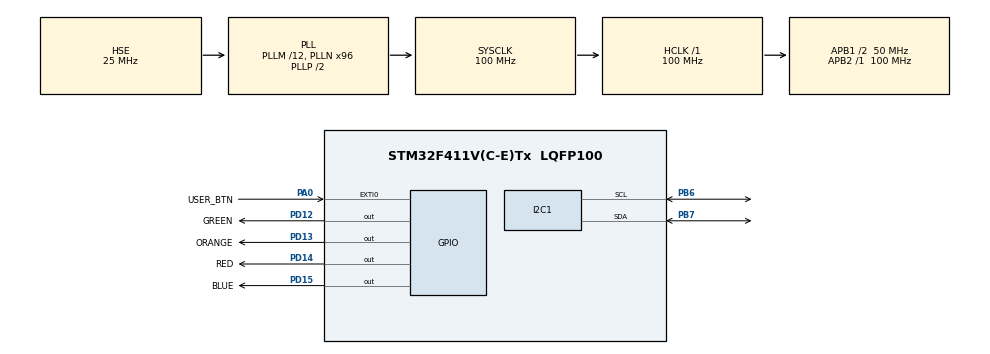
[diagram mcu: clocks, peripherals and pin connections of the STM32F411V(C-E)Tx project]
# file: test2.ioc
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I2C1.I2C_Mode=I2C_Fast
Mcu.Family=STM32F4
Mcu.Name=STM32F411V(C-E)Tx
Mcu.Package=LQFP100
NVIC.PriorityGroup=NVIC_PRIORITYGROUP_4
PA0-WKUP.GPIO_Label=USER_BTN
PA0-WKUP.GPIO_ModeDefaultEXTI=GPIO_MODE_IT_RISING_FALLING
PA0-WKUP.GPIO_PuPd=GPIO_PULLUP
PA0-WKUP.Signal=GPXTI0
PA13.Mode=Serial_Wire
PA13.Signal=SYS_JTMS-SWDIO
PA14.Mode=Serial_Wire
PA14.Signal=SYS_JTCK-SWCLK
PB6.Mode=I2C
PB6.Signal=I2C1_SCL
PB7.Mode=I2C
PB7.Signal=I2C1_SDA
PD12.GPIO_Label=GREEN
PD12.Signal=GPIO_Output
PD13.GPIO_Label=ORANGE
PD13.Signal=GPIO_Output
PD14.GPIO_Label=RED
PD14.Signal=GPIO_Output
PD15.GPIO_Label=BLUE
PD15.Signal=GPIO_Output
PH0\ -\ OSC_IN.Mode=HSE-External-Oscillator
PH0\ -\ OSC_IN.Signal=RCC_OSC_IN
PH1\ -\ OSC_OUT.Mode=HSE-External-Oscillator
PH1\ -\ OSC_OUT.Signal=RCC_OSC_OUT
ProjectManager.HeapSize=0x200
ProjectManager.StackSize=0x400
ProjectManager.TargetToolchain=STM32CubeIDE
RCC.48MHZClocksFreq_Value=50000000
RCC.AHBFreq_Value=100000000
RCC.APB1CLKDivider=RCC_HCLK_DIV2
RCC.APB1Freq_Value=50000000
RCC.APB1TimFreq_Value=100000000
RCC.APB2Freq_Value=100000000
RCC.APB2TimFreq_Value=100000000
RCC.CortexFreq_Value=100000000
RCC.HCLKFreq_Value=100000000
RCC.HSE_VALUE=25000000
RCC.HSI_VALUE=16000000
RCC.LSE_VALUE=32768
RCC.PLLM=12
RCC.PLLN=96
RCC.PLLSourceVirtual=RCC_PLLSOURCE_HSE
RCC.SYSCLKFreq_VALUE=100000000
RCC.SYSCLKSource=RCC_SYSCLKSOURCE_PLLCLK
RCC.VCOOutputFreq_Value=200000000
board=custom

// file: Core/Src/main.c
/* USER CODE BEGIN Header */
/**
  ******************************************************************************
  * @file           : main.c
  * @brief          : Main program body
  ******************************************************************************
  *
	https://www.youtube.com/watch?v=6gQ49cA09Og&ab_channel=ArduinoKit
  *
  ******************************************************************************
  */
/* USER CODE END Header */
#include "main.h"

/* USER CODE BEGIN Includes */

#include "stdio.h"
#include "stdlib.h"
#include "math.h"

#include "LCD1602.h"

/* USER CODE END Includes */

I2C_HandleTypeDef hi2c1;

void SystemClock_Config(void);
static void MX_GPIO_Init(void);
static void MX_I2C1_Init(void);

/* USER CODE BEGIN 0 */

// Send printf to uart1
//int _write(int fd, char* ptr, int len) {
//  HAL_StatusTypeDef hstatus;
//
//  if (fd == 1 || fd == 2) {
//    hstatus = HAL_UART_Transmit(&huart1, (uint8_t *) ptr, len, HAL_MAX_DELAY);
//    if (hstatus == HAL_OK)
//      return len;
//    else
//      return -1;
//  }
//  return -1;
//}

// Под каждый символ отводится 8 байт, а в каждом байте используются только первые пять бит.
// Тогда наш символ можно представить в виде массива, состоящего из восьми элементов.
// один квадратик дисплея это массив точек 5x8
// https://chareditor.com/
// https://arduinointro.com/lcdcustomcharacter/
// https://maxpromer.github.io/LCD-Character-Creator/

//uint8_t myChar_1[8] = {
//							0xff,	// 11111
//							0x00,	// 00000
//							0x00,	// 00000
//							0x00,	// 00000
//							0x00,	// 00000
//							0x00,	// 00000
//							0x00,	// 00000
//							0x00	// 00000
//						  };

//uint8_t myChar_2[8] = {
//    0b11111,
//    0b10001,
//    0b10001,
//    0b10001,
//    0b10001,
//    0b10001,
//    0b10001,
//    0b11111
//};
// ИЛИ ТАК :
//uint8_t myChar_2[8] = { 0x1F, 0x11, 0x11, 0x11, 0x11, 0x11, 0x11, 0x1F };

/* USER CODE END 0 */

int main(void)
{

  /* MCU Configuration--------------------------------------------------------*/

  /* Reset of all peripherals, Initializes the Flash interface and the Systick. */
  HAL_Init();

  /* Configure the system clock */
  SystemClock_Config();

  /* Initialize all configured peripherals */
  MX_GPIO_Init();
  MX_I2C1_Init();
  /* USER CODE BEGIN 2 */

// Функция инициализации дисплея
  LCD_Init();

	// функция создания своего символа и записи его в память Первый параметр массив с символом второй парамет номер ячеки куда записали от 0 до 7 ( всего 8 символов можно записать )--------
//	LCD_CreateChar( myChar_1, 1 );
//	LCD_CreateChar( myChar_2, 2 );

	/////////////////////////////////////////////////////////////////////////////////////////////////////////////////////////////////////

//		// Функция позиционирования ( 1-й параметр позиция символа ( номер столбца ) , 2-й параметр строка ( номер строки ), ( Счет с нуля )------------------
//		LCD_SetCursor( 0, 0 );
//		// Функция печати строки на дисплее
//		LCD_PrintString("Hello Odessa");
//
//		// Функция позиционирования ( 1-й параметр позиция символа , 2-й параметр строка, ( Счет с нуля )------------------
//		LCD_SetCursor( 0, 1 );
//		LCD_PrintString("123456789");
//
//		// Функция позиционирования ( 1-й параметр позиция символа , 2-й параметр строка, ( Счет с нуля )------------------
//		LCD_SetCursor( 15, 1 );
//
//		// печатаем собственный символ под номером 0
//		// перед вызавом своего символа обязательно вызываем LCD_SetCursor();
//		LCD_PrintMyChar( 2 );
//		HAL_Delay (1000);
//
//		// Функция включения и выключения подсветки дисплея ( 0-выкл, 1 (либо другое от 0)- вкл -------------------------------------
//		LCD_LedOnOff( 0 );
//		HAL_Delay (1000);
//
//		// Функция включения и выключения подсветки дисплея ( 0-выкл, 1 (либо другое от 0)- вкл -------------------------------------
//		LCD_LedOnOff( 1 );
//		HAL_Delay (1000);

//		// функция двигает надпись вправо на 1 символ ( бегущая строка )
//		for( uint8_t i = 0; i < 10; i++ ){
//			LCD_StringRunR();
//			HAL_Delay (300);
//		}
//		// функция двигает надпись влево на 1 символ ( бегущая строка )
//		for( uint8_t i = 0; i < 10; i++ ){
//			LCD_StringRunL();
//			HAL_Delay (300);
//		}

//		// функция віключает надпись на єкране (єкран пустой ) и включает ее обратно ( 0- выкл, 1 ( или любое отличное от 0 ) вкл )--
//		LCD_TextOnOff( 0 );
//		HAL_Delay (1000);

//		// функция віключает надпись на єкране (єкран пустой ) и включает ее обратно ( 0- выкл, 1 ( или любое отличное от 0 ) вкл )--
//		LCD_TextOnOff( 1 );
//		HAL_Delay (1000);
//
//		// Функция очистки дисплея ----------------------------------------------------------------------------------------------
//		LCD_Clear();
//		HAL_Delay (1000);

	// ВЫРУБИТЬ ПОДСВЕТКУ И ОЧИСТИТЬ ЭКРАН:
	LCD_LedOnOff( 0 );
	LCD_Clear();
	char buff[1024];

	uint32_t now = 0;
	uint32_t last_print = 0;
//
//	double d1, d2;
//	d1 = M_PI;
//	d2 = M_E;
//
//	LCD_SetCursor( 0, 0 );
//	sprintf(buff, "[%18.16f]", d1);
//	LCD_PrintString(buff);
//
//	LCD_SetCursor( 0, 1 );
//	sprintf(buff, "[%18.16f]", d2);
//	LCD_PrintString(buff);
//
//	LCD_SetCursor( 0, 2 );
//	sprintf(buff, "[RES:%14.12f]", d1 - d2);
//	LCD_PrintString(buff);
//
//	HAL_GPIO_WritePin(GPIOD, GREEN_Pin|ORANGE_Pin|RED_Pin|BLUE_Pin, GPIO_PIN_SET);
//
//	LCD_SetCursor( 0, 3 );

// ВЫДЕЛЕНИЕ ОПРЕДЕЛЕННОГО КОЛИЧЕСТВА ЗНАКОМЕСТ ПОД ВЫВОД:
//	LCD_SetCursor( 0, 1 );
//	sprintf(buff, "[%10d]", 1234);
//	LCD_PrintString(buff);
//
//	LCD_SetCursor( 0, 2 );
//	sprintf(buff, "[%10d]", 0xff);
//	LCD_PrintString(buff);
//
//	LCD_SetCursor( 0, 3 );
//	sprintf(buff, "[%10d]", 987654321);
//	LCD_PrintString(buff);

//	double d1, d2;
//	d1 = M_PI;
//	d2 = M_E;
//
//	LCD_SetCursor( 0, 0 );
//	sprintf(buff, "[%18.16f]", d1);
//	LCD_PrintString(buff);
//
//	LCD_SetCursor( 0, 1 );
//	sprintf(buff, "[%18.16f]", d2);
//	LCD_PrintString(buff);
//
//	LCD_SetCursor( 0, 2 );
//	sprintf(buff, "[RES:%14.12f]", d1+d2);
//	LCD_PrintString(buff);

//	// ЭКСПОНЕНЦИАЛЬНАЯ ЗАПИСЬ ЧИСЛА:
//	double d1, d2, d3, d4;
//
//	d1 = 3.14;
//	d2 = -7.;
//	d3 = 1e2; // = 1*10^2 = 100
//	d4 = 5e-3; // = 5 * 10^-3 = 0.005
//
//	LCD_Clear();
//	LCD_SetCursor( 0, 0 );
//	sprintf(buff, "%.f", d1);
//	LCD_PrintString(buff);
//
//	LCD_SetCursor( 0, 1 );
//	sprintf(buff, "%.f", d2);
//	LCD_PrintString(buff);
//
//	LCD_SetCursor( 0, 2 );
//	sprintf(buff, "%.f", d3);
//	LCD_PrintString(buff);
//
//	LCD_SetCursor( 0, 3 );
//	sprintf(buff, "%.3f", d4);
//	LCD_PrintString(buff);

// ЧИСЛО ЭЙЛЕРА:
	//#define M_E		2.7182818284590452354

// ЧИСЛО ПИ:
//	//	double a = 3.1415926;
//	// #define M_PI		3.14 15 926 53 58 97 93 23 8 4 6
//		sprintf(buff, "%.15lf", M_PI);
//		LCD_Clear();
//		LCD_SetCursor( 0, 0 );
//		LCD_PrintString(buff);

	// СИМВОЛ И ЕГО КОД
//	char number = 'A';
//  char buff[1024];
//	sprintf(buff, "Symbol: %c code: %d", number, number);
//	LCD_Clear();
//	LCD_SetCursor( 0, 0 );
//	LCD_PrintString(buff);

//	uint8_t number = 0b111; // В ДВОИЧНОМ ВИДЕ !!

//	for (int i = 0; i < 10; ++i) {
//		sprintf(buff, "%d", i);
//		LCD_Clear();
//		LCD_SetCursor( 19, 0 );
//		LCD_PrintString(buff);
//		HAL_Delay(500);
//	}

//    int number = 12345;
//
//    sprintf(buff, "%d", number);
//    LCD_SetCursor( 0, 0 );
//	LCD_PrintString(buff);
//
//    sprintf(buff, "%d", number+2);
//    LCD_SetCursor( 0, 1 );
//    LCD_PrintString(buff);
//
//    double base = 2.0;
//    double exponent = 10.0;
//    long double result = pow(base, exponent);
//	sprintf(buff, "Res: %.Lf", result);
//	LCD_SetCursor( 0, 2 );
//	LCD_PrintString(buff);

//	int rows = 4;
//	int columns = 20;
//	char buff[1];
//	for (int i = 0; i < rows; ++i) {
//		for (int j = 0; j < columns; ++j){
//			LCD_SetCursor( j , i );
////			sprintf(buff, "%d", j);
//			LCD_PrintString("F");
//		}
//	}

//	LCD_SetCursor( 0, 0 );
//	LCD_PrintString("01234567 9ABCDEFGHIJ");
//
//	LCD_SetCursor( 0, 1 );
//	LCD_PrintString("01234567 9ABCDEFGHIJ");
//
//	LCD_SetCursor( 0, 2 );
//	LCD_PrintString("0123456789ABCDEFGHIJ");
//
//	LCD_SetCursor( 0, 3 );
//	LCD_PrintString("0123456789ABCDEFGHIJ");

//		// Функция позиционирования ( 1-й параметр позиция символа , 2-й параметр строка, ( Счет с нуля )------------------
//		LCD_SetCursor( 0, 0 );
//
//		// Функция печати строки на дисплее
//		LCD_PrintString("Hello Odessa");
//
//		// Функция включения и выключения мигания курсора ( 0-выкл, 1 (либо другое от 0)- вкл
//		LCD_CursorOnOff( 1 );
//
//		HAL_Delay (3000);
//
//		// Функция включения и выключения мигания курсора ( 0-выкл, 1 (либо другое от 0)- вкл
//		LCD_CursorOnOff( 0 );
//
//// ВЫВЕСТИ СВОЮ СТРОКУ ЧЕРЕЗ СФОРМИРОВАННЫЙ БУФЕР:
//
//		char buffer[32];
//		sprintf(buffer, "Hello, VLAD!");
//		LCD_Clear();
//		HAL_Delay (1000);
//		LCD_SetCursor( 0, 0 );
//		LCD_PrintString(buffer);
//
//// ВЫВЕСТИ СВОЁ ЧИСЛОВОЕ ЗНАЧЕНИЕ ЧЕРЕЗ СФОРМИРОВАННЫЙ БУФЕР:
//
//		uint32_t value = 1234;
//		sprintf(buffer, "Value: %ld", value);
//		HAL_Delay (3000);
//		LCD_Clear();
//		LCD_SetCursor( 0, 0 );
//		LCD_PrintString(buffer);
//
//// ВЫВЕСТИ СВОЁ ВЕЩЕСТВЕННОЕ ЧИСЛОВОЕ ЗНАЧЕНИЕ ЧЕРЕЗ СФОРМИРОВАННЫЙ БУФЕР:
//
//		float temperature = 36.6;
//		sprintf(buffer, "Temp: %.2f", temperature);
//		HAL_Delay (3000);
//		LCD_Clear();
//		LCD_SetCursor( 0, 0 );
//		LCD_PrintString(buffer);
//
//// КОМБИНИРОВАННЫЙ ВАРИАНТ_1:
//
//		char name[] = "Alice";
//		int age = 25;
//		sprintf(buffer, "Name: %s Age: %d", name, age);
//		HAL_Delay (3000);
//		LCD_Clear();
//		LCD_SetCursor( 0, 0 );
//		LCD_PrintString(buffer);
//
//// КОМБИНИРОВАННЫЙ ВАРИАНТ_2:
//
//		char surname[] = "Astrelin";
//		char frmt[] = "S: %s Age: %d";
//		age = 45;
//		sprintf(buffer, frmt, surname, age);
//		HAL_Delay (3000);
//		LCD_Clear();
//		LCD_SetCursor( 0, 0 );
//		LCD_PrintString(buffer);
//
//// ОТОБРАЖЕНИЕ HEXADECIMAL NUMBERS:
//
//		int val = 0xABCD;
//		sprintf(buffer, "Hex: 0x%X", val);
//		HAL_Delay (3000);
//		LCD_Clear();
//		LCD_SetCursor( 0, 0 );
//		LCD_PrintString(buffer);
//
//// ОТОБРАЖЕНИЕ ВРЕМЕНИ:
//
//		int hours = 12, minutes = 30, seconds = 45;
//		sprintf(buffer, "Time: %02d:%02d:%02d", hours, minutes, seconds);
//		HAL_Delay (3000);
//		LCD_Clear();
//		LCD_SetCursor( 0, 0 );
//		LCD_PrintString(buffer);
//
//// ОТОБРАЖЕНИЕ ВЕЩЕСТВЕННЫХ ЧИСЕЛ:
//
//		float voltage = 3.3, current = 0.5;
//		sprintf(buffer, "V: %.2fV I: %.2fA", voltage, current);
//		HAL_Delay (3000);
//		LCD_Clear();
//		LCD_SetCursor( 0, 0 );
//		LCD_PrintString(buffer);
//
//// ОТОБРАЖЕНИЕ АДРЕСА В ПАМЯТИ:
//
//		void *ptr = (void *)0x20001000;
//		sprintf(buffer, "Address: %p", ptr);
//		HAL_Delay (3000);
//		LCD_Clear();
//		LCD_SetCursor( 0, 0 );
//		LCD_PrintString(buffer);
//
//// ОТОБРАЖЕНИЕ В ЗАВИСИМОСТИ ОТ УСЛОВИЯ:
//
//		int status = 1; // 1 for success, 0 for failure
//		sprintf(buffer, "Status: %s", status ? "Success" : "Failure");
//		HAL_Delay (3000);
//		LCD_Clear();
//		LCD_SetCursor( 0, 0 );
//		LCD_PrintString(buffer);
//
//		status = 0;
//		sprintf(buffer, "Status: %s", status ? "Success" : "Failure");
//		HAL_Delay (3000);
//		LCD_Clear();
//		LCD_SetCursor( 0, 0 );
//		LCD_PrintString(buffer);
//
//// ОТОБРАЖЕНИЕ ПРОГРЕССА:
//		int progress = 75; // 75% progress
//		sprintf(buffer, "Progress: %d%%", progress);
//		HAL_Delay (3000);
//		LCD_Clear();
//		LCD_SetCursor( 0, 0 );
//		LCD_PrintString(buffer);
//
//// ПИШЕМ ВО ВСЕ СТРОКИ ДИСПЛЕЯ:
//		char str_1[] = "FIRST";
//		char str_2[] = "SECOND";
//		char str_3[] = "THIRD";
//		char str_4[] = "FOURTH";
//		HAL_Delay (3000);
//		LCD_Clear();
//
//		LCD_SetCursor( 0, 0 );
//		LCD_PrintString(str_1);
//
//		LCD_SetCursor( 0, 1 );
//		LCD_PrintString(str_2);
//
//		LCD_SetCursor( 0, 2 );
//		LCD_PrintString(str_3);
//
//		LCD_SetCursor( 0, 3 );
//		LCD_PrintString(str_4);
//
//		//*********************
//
//		char num_1[] = "1";
//		char num_2[] = "2";
//		char num_3[] = "3";
//		char num_4[] = "4";
//
//		LCD_SetCursor( 19, 0 );
//		LCD_PrintString(num_1);
//
//		LCD_SetCursor( 19, 1 );
//		LCD_PrintString(num_2);
//
//		LCD_SetCursor( 19, 2 );
//		LCD_PrintString(num_3);
//
//		LCD_SetCursor( 19, 3 );
//		LCD_PrintString(num_4);

// ВОЗВЕДЕНИЕ В СТЕПЕНЬ:

//  double base = 2.0;
//  double exponent = 3.0;
//  double result = pow(base, exponent);
//	sprintf(buff, "Res: %.2f", result); // БЕЗ ЗАПЯТЫХ "Res: %.f"
//	LCD_SetCursor( 0, 2 );
//	LCD_PrintString(buff);

	//////////////////////////////////////////////////////////////////////////////////////////////////////////////////////////

  /* USER CODE END 2 */

  /* Infinite loop */
  /* USER CODE BEGIN WHILE */
  while (1)
  {
	  now = HAL_GetTick();
	  if(now - last_print >= 1000){
		  sprintf(buff, "%ld", now / 1000);
		  LCD_Clear();
		  LCD_SetCursor( 0, 0 );
		  LCD_PrintString(buff);
		  last_print = now;
	  }

	  // PORT D ( GPIOD )
	  // GPIO_PIN_15 = BLUE
	  // GPIO_PIN_14 = RED
	  // GPIO_PIN_13 = ORANGE
	  // GPIO_PIN_12 = GREEN

//	  HAL_GPIO_WritePin(GPIOD, GPIO_PIN_12, GPIO_PIN_RESET);
//	  HAL_Delay(100);
//
//	  HAL_GPIO_WritePin(GPIOD, GPIO_PIN_12, GPIO_PIN_SET);
//	  HAL_Delay(100);

    /* USER CODE END WHILE */

  }
}

void SystemClock_Config(void)
{
  RCC_OscInitTypeDef RCC_OscInitStruct = {0};
  RCC_ClkInitTypeDef RCC_ClkInitStruct = {0};

  /** Configure the main internal regulator output voltage
  */
  __HAL_RCC_PWR_CLK_ENABLE();
  __HAL_PWR_VOLTAGESCALING_CONFIG(PWR_REGULATOR_VOLTAGE_SCALE1);

  /** Initializes the RCC Oscillators according to the specified parameters
  * in the RCC_OscInitTypeDef structure.
  */
  RCC_OscInitStruct.OscillatorType = RCC_OSCILLATORTYPE_HSE;
  RCC_OscInitStruct.HSEState = RCC_HSE_ON;
  RCC_OscInitStruct.PLL.PLLState = RCC_PLL_ON;
  RCC_OscInitStruct.PLL.PLLSource = RCC_PLLSOURCE_HSE;
  RCC_OscInitStruct.PLL.PLLM = 12;
  RCC_OscInitStruct.PLL.PLLN = 96;
  RCC_OscInitStruct.PLL.PLLP = RCC_PLLP_DIV2;
  RCC_OscInitStruct.PLL.PLLQ = 4;
  if (HAL_RCC_OscConfig(&RCC_OscInitStruct) != HAL_OK)
  {
    Error_Handler();
  }

  /** Initializes the CPU, AHB and APB buses clocks
  */
  RCC_ClkInitStruct.ClockType = RCC_CLOCKTYPE_HCLK|RCC_CLOCKTYPE_SYSCLK
                              |RCC_CLOCKTYPE_PCLK1|RCC_CLOCKTYPE_PCLK2;
  RCC_ClkInitStruct.SYSCLKSource = RCC_SYSCLKSOURCE_PLLCLK;
  RCC_ClkInitStruct.AHBCLKDivider = RCC_SYSCLK_DIV1;
  RCC_ClkInitStruct.APB1CLKDivider = RCC_HCLK_DIV2;
  RCC_ClkInitStruct.APB2CLKDivider = RCC_HCLK_DIV1;

  if (HAL_RCC_ClockConfig(&RCC_ClkInitStruct, FLASH_LATENCY_3) != HAL_OK)
  {
    Error_Handler();
  }
}

static void MX_I2C1_Init(void)
{

  hi2c1.Instance = I2C1;
  hi2c1.Init.ClockSpeed = 400000;
  hi2c1.Init.DutyCycle = I2C_DUTYCYCLE_2;
  hi2c1.Init.OwnAddress1 = 0;
  hi2c1.Init.AddressingMode = I2C_ADDRESSINGMODE_7BIT;
  hi2c1.Init.DualAddressMode = I2C_DUALADDRESS_DISABLE;
  hi2c1.Init.OwnAddress2 = 0;
  hi2c1.Init.GeneralCallMode = I2C_GENERALCALL_DISABLE;
  hi2c1.Init.NoStretchMode = I2C_NOSTRETCH_DISABLE;
  if (HAL_I2C_Init(&hi2c1) != HAL_OK)
  {
    Error_Handler();
  }

}

static void MX_GPIO_Init(void)
{
  GPIO_InitTypeDef GPIO_InitStruct = {0};

  /* GPIO Ports Clock Enable */
  __HAL_RCC_GPIOH_CLK_ENABLE();
  __HAL_RCC_GPIOA_CLK_ENABLE();
  __HAL_RCC_GPIOD_CLK_ENABLE();
  __HAL_RCC_GPIOB_CLK_ENABLE();

  /*Configure GPIO pin Output Level */
  HAL_GPIO_WritePin(GPIOD, GREEN_Pin|ORANGE_Pin|RED_Pin|BLUE_Pin, GPIO_PIN_RESET);

  /*Configure GPIO pin : USER_BTN_Pin */
  GPIO_InitStruct.Pin = USER_BTN_Pin;
  GPIO_InitStruct.Mode = GPIO_MODE_IT_RISING_FALLING;
  GPIO_InitStruct.Pull = GPIO_PULLUP;
  HAL_GPIO_Init(USER_BTN_GPIO_Port, &GPIO_InitStruct);

  /*Configure GPIO pins : GREEN_Pin ORANGE_Pin RED_Pin BLUE_Pin */
  GPIO_InitStruct.Pin = GREEN_Pin|ORANGE_Pin|RED_Pin|BLUE_Pin;
  GPIO_InitStruct.Mode = GPIO_MODE_OUTPUT_PP;
  GPIO_InitStruct.Pull = GPIO_NOPULL;
  GPIO_InitStruct.Speed = GPIO_SPEED_FREQ_LOW;
  HAL_GPIO_Init(GPIOD, &GPIO_InitStruct);

}

void Error_Handler(void)
{
  __disable_irq();
  while (1)
  {
  }
}
